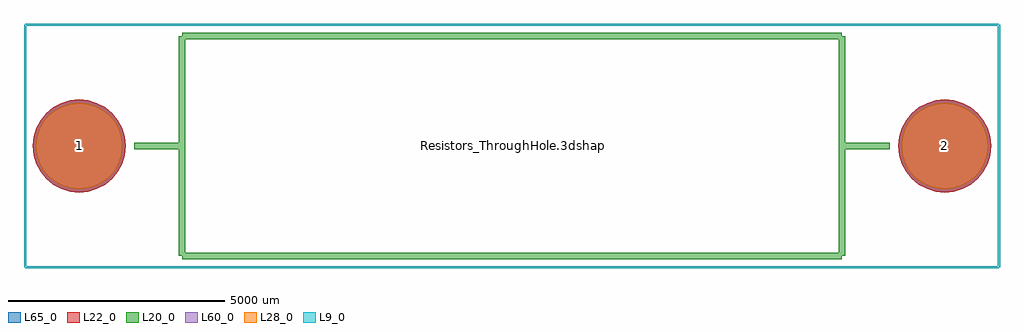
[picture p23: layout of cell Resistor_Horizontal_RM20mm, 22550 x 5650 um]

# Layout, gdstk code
import gdstk
lib = gdstk.Library(unit=1e-6, precision=1e-09)
def P(c, l, *ps):  # polygons
    for p in ps: c.add(gdstk.Polygon(p, *l))
L9_0 = (9, 0)
L20_0 = (20, 0)
L22_0 = (22, 0)
L28_0 = (28, 0)
L60_0 = (60, 0)
L65_0 = (65, 0)

resistor_horizontal_rm20 = lib.new_cell('Resistor_Horizontal_RM20mm')
P(resistor_horizontal_rm20, L22_0, [(21074.49,0),(21053.844,209.623),(20992.699,411.19),(20893.406,596.955),(20759.779,759.779),(20596.955,893.406),(20411.19,992.699),(20209.623,1053.844),(20000,1074.49),(19790.377,1053.844),(19588.81,992.699),(19403.045,893.406),(19240.221,759.779),(19106.594,596.955),(19007.301,411.19),(18946.156,209.623),(18925.51,0),(18946.156,-209.623),(19007.301,-411.19),(19106.594,-596.955),(19240.221,-759.779),(19403.045,-893.406),(19588.81,-992.699),(19790.377,-1053.844),(20000,-1074.49),(20209.623,-1053.844),(20411.19,-992.699),(20596.955,-893.406),(20759.779,-759.779),(20893.406,-596.955),(20992.699,-411.19),(21053.844,-209.623)],
  [(1074.49,0),(1053.844,209.623),(992.699,411.19),(893.406,596.955),(759.779,759.779),(596.955,893.406),(411.19,992.699),(209.623,1053.844),(0,1074.49),(-209.623,1053.844),(-411.19,992.699),(-596.955,893.406),(-759.779,759.779),(-893.406,596.955),(-992.699,411.19),(-1053.844,209.623),(-1074.49,0),(-1053.844,-209.623),(-992.699,-411.19),(-893.406,-596.955),(-759.779,-759.779),(-596.955,-893.406),(-411.19,-992.699),(-209.623,-1053.844),(0,-1074.49),(209.623,-1053.844),(411.19,-992.699),(596.955,-893.406),(759.779,-759.779),(893.406,-596.955),(992.699,-411.19),(1053.844,-209.623)])
P(resistor_horizontal_rm20, L28_0, [(20999.49,0),(20980.285,194.991),(20923.408,382.488),(20831.046,555.287),(20706.746,706.746),(20555.287,831.046),(20382.488,923.408),(20194.991,980.285),(20000,999.49),(19805.009,980.285),(19617.512,923.408),(19444.713,831.046),(19293.254,706.746),(19168.954,555.287),(19076.592,382.488),(19019.715,194.991),(19000.51,0),(19019.715,-194.991),(19076.592,-382.488),(19168.954,-555.287),(19293.254,-706.746),(19444.713,-831.046),(19617.512,-923.408),(19805.009,-980.285),(20000,-999.49),(20194.991,-980.285),(20382.488,-923.408),(20555.287,-831.046),(20706.746,-706.746),(20831.046,-555.287),(20923.408,-382.488),(20980.285,-194.991)],
  [(999.49,0),(980.285,194.991),(923.408,382.488),(831.046,555.287),(706.746,706.746),(555.287,831.046),(382.488,923.408),(194.991,980.285),(0,999.49),(-194.991,980.285),(-382.488,923.408),(-555.287,831.046),(-706.746,706.746),(-831.046,555.287),(-923.408,382.488),(-980.285,194.991),(-999.49,0),(-980.285,-194.991),(-923.408,-382.488),(-831.046,-555.287),(-706.746,-706.746),(-555.287,-831.046),(-382.488,-923.408),(-194.991,-980.285),(0,-999.49),(194.991,-980.285),(382.488,-923.408),(555.287,-831.046),(706.746,-706.746),(831.046,-555.287),(923.408,-382.488),(980.285,-194.991)])
P(resistor_horizontal_rm20, L60_0, [(20999.49,0),(20980.285,194.991),(20923.408,382.488),(20831.046,555.287),(20706.746,706.746),(20555.287,831.046),(20382.488,923.408),(20194.991,980.285),(20000,999.49),(19805.009,980.285),(19617.512,923.408),(19444.713,831.046),(19293.254,706.746),(19168.954,555.287),(19076.592,382.488),(19019.715,194.991),(19000.51,0),(19019.715,-194.991),(19076.592,-382.488),(19168.954,-555.287),(19293.254,-706.746),(19444.713,-831.046),(19617.512,-923.408),(19805.009,-980.285),(20000,-999.49),(20194.991,-980.285),(20382.488,-923.408),(20555.287,-831.046),(20706.746,-706.746),(20831.046,-555.287),(20923.408,-382.488),(20980.285,-194.991)],
  [(999.49,0),(980.285,194.991),(923.408,382.488),(831.046,555.287),(706.746,706.746),(555.287,831.046),(382.488,923.408),(194.991,980.285),(0,999.49),(-194.991,980.285),(-382.488,923.408),(-555.287,831.046),(-706.746,706.746),(-831.046,555.287),(-923.408,382.488),(-980.285,194.991),(-999.49,0),(-980.285,-194.991),(-923.408,-382.488),(-831.046,-555.287),(-706.746,-706.746),(-555.287,-831.046),(-382.488,-923.408),(-194.991,-980.285),(0,-999.49),(194.991,-980.285),(382.488,-923.408),(555.287,-831.046),(706.746,-706.746),(831.046,-555.287),(923.408,-382.488),(980.285,-194.991)])
P(resistor_horizontal_rm20, L65_0, [(21074.49,0),(21053.844,209.623),(20992.699,411.19),(20893.406,596.955),(20759.779,759.779),(20596.955,893.406),(20411.19,992.699),(20209.623,1053.844),(20000,1074.49),(19790.377,1053.844),(19588.81,992.699),(19403.045,893.406),(19240.221,759.779),(19106.594,596.955),(19007.301,411.19),(18946.156,209.623),(18925.51,0),(18946.156,-209.623),(19007.301,-411.19),(19106.594,-596.955),(19240.221,-759.779),(19403.045,-893.406),(19588.81,-992.699),(19790.377,-1053.844),(20000,-1074.49),(20209.623,-1053.844),(20411.19,-992.699),(20596.955,-893.406),(20759.779,-759.779),(20893.406,-596.955),(20992.699,-411.19),(21053.844,-209.623)],
  [(1074.49,0),(1053.844,209.623),(992.699,411.19),(893.406,596.955),(759.779,759.779),(596.955,893.406),(411.19,992.699),(209.623,1053.844),(0,1074.49),(-209.623,1053.844),(-411.19,992.699),(-596.955,893.406),(-759.779,759.779),(-893.406,596.955),(-992.699,411.19),(-1053.844,209.623),(-1074.49,0),(-1053.844,-209.623),(-992.699,-411.19),(-893.406,-596.955),(-759.779,-759.779),(-596.955,-893.406),(-411.19,-992.699),(-209.623,-1053.844),(0,-1074.49),(209.623,-1053.844),(411.19,-992.699),(596.955,-893.406),(759.779,-759.779),(893.406,-596.955),(992.699,-411.19),(1053.844,-209.623)])
resistor_horizontal_rm20.add(gdstk.FlexPath([(1270,0),(2380,0)], 149.998, ends="flush", simple_path=True, layer=20, datatype=0))  # L20_0
resistor_horizontal_rm20.add(gdstk.FlexPath([(18730,0),(17620,0)], 149.998, ends="flush", simple_path=True, layer=20, datatype=0))  # L20_0
resistor_horizontal_rm20.add(gdstk.FlexPath([(17620,2540),(2380,2540)], 149.998, ends="flush", simple_path=True, layer=20, datatype=0))  # L20_0
resistor_horizontal_rm20.add(gdstk.FlexPath([(17620,0),(17620,2540)], 149.998, ends="flush", simple_path=True, layer=20, datatype=0))  # L20_0
resistor_horizontal_rm20.add(gdstk.FlexPath([(17620,-2540),(17620,0)], 149.998, ends="flush", simple_path=True, layer=20, datatype=0))  # L20_0
resistor_horizontal_rm20.add(gdstk.FlexPath([(2380,-2540),(17620,-2540)], 149.998, ends="flush", simple_path=True, layer=20, datatype=0))  # L20_0
resistor_horizontal_rm20.add(gdstk.FlexPath([(2380,2540),(2380,-2540)], 149.998, ends="flush", simple_path=True, layer=20, datatype=0))  # L20_0
resistor_horizontal_rm20.add(gdstk.FlexPath([(21250,-2800),(-1250,-2800)], 50, ends="flush", simple_path=True, layer=9, datatype=0))  # L9_0
resistor_horizontal_rm20.add(gdstk.FlexPath([(21250,2800),(21250,-2800)], 50, ends="flush", simple_path=True, layer=9, datatype=0))  # L9_0
resistor_horizontal_rm20.add(gdstk.FlexPath([(-1250,2800),(21250,2800)], 50, ends="flush", simple_path=True, layer=9, datatype=0))  # L9_0
resistor_horizontal_rm20.add(gdstk.FlexPath([(-1250,-2800),(-1250,2800)], 50, ends="flush", simple_path=True, layer=9, datatype=0))  # L9_0
resistor_horizontal_rm20.add(gdstk.Label('Resistors_ThroughHole.3dshapes/Resistor_Horizontal_RM20mm.wrl', (10033,0), layer=12, texttype=0))
resistor_horizontal_rm20.add(gdstk.Label('2', (20000,0), layer=28, texttype=0))
resistor_horizontal_rm20.add(gdstk.Label('1', (0,0), layer=28, texttype=0))
resistor_horizontal_rm20.add(gdstk.Label('type', (10000,-5001.26), layer=9, texttype=0))
resistor_horizontal_rm20.add(gdstk.Label('devicename', (10000,5499.1), layer=9, texttype=0))

lib.write_gds('Resistor_Horizontal_RM20mm.gds')
